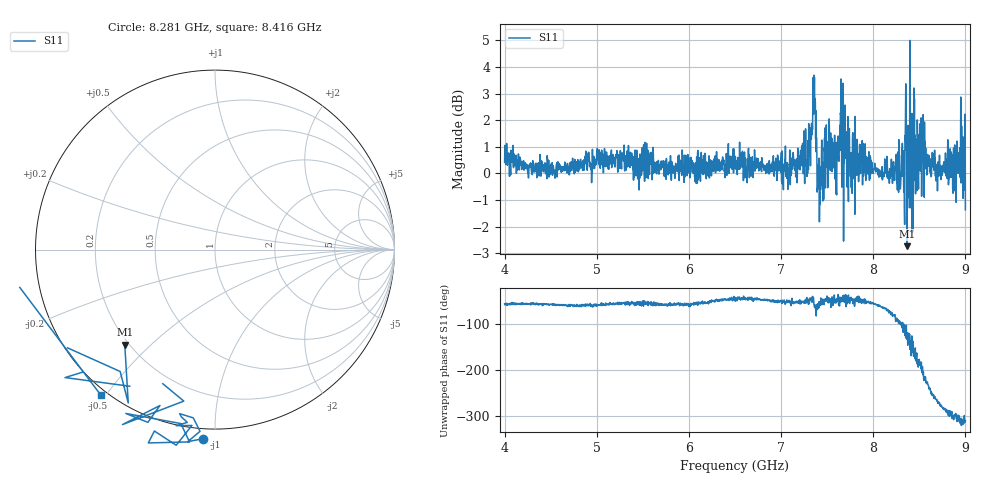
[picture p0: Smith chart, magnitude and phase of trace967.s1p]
! Created with skrf 1.8.0 (http://scikit-rf.org).
# Hz S RI R 50.0
!freq ReS11 ImS11
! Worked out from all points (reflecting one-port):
!   1601 points, 4 GHz to 9 GHz, reference 50 ohm
!   lowest |S11| = -2.7 dB at 8.366 GHz (marker M1), VSWR 6.41, Z = 9.2 - j20.9 ohm
!   phase of S11 starts at -57 deg and turns -252 deg over the sweep
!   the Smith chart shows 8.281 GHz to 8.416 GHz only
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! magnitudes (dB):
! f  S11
! 4 GHz  0.4
! 4.625 GHz  0.1
! 5.25 GHz  0.2
! 5.875 GHz  0.3
! 6.5 GHz  0.2
! 7.125 GHz  0.2
! 7.297 GHz  0.1
! 7.353 GHz  2.2
! 7.369 GHz  2.8
! 7.412 GHz  0.6
! 7.503 GHz  1.1
! 7.609 GHz  1.2
! 7.65 GHz  3.6
! 7.75 GHz  0.7
! 8.316 GHz  1.1
! 8.334 GHz  0.9
! 8.35 GHz  2.1
! 8.366 GHz  -2.7
! 8.375 GHz  -0.1
! 8.447 GHz  2.8
! 8.459 GHz  -0.8
! 8.475 GHz  -0.6
! 8.522 GHz  1.9
! 8.722 GHz  -0.1
! 8.875 GHz  0.3
! 8.953 GHz  -0.4
! 8.972 GHz  0.9
! 9 GHz  -1.4
